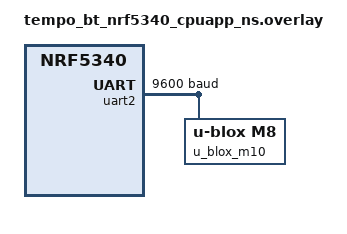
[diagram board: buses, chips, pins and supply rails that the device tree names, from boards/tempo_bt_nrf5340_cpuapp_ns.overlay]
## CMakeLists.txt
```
# Copyright (c) 2023 Trackunit Corporation
# SPDX-License-Identifier: Apache-2.0

cmake_minimum_required(VERSION 3.20.0)
find_package(Zephyr REQUIRED HINTS $ENV{ZEPHYR_BASE})
project(app_gnss_checkout)

target_sources(app PRIVATE src/main.c) 
```

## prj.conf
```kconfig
# Copyright (c) 2023 Trackunit Corporation
# SPDX-License-Identifier: Apache-2.0

CONFIG_GNSS=y
CONFIG_GNSS_SATELLITES=y

CONFIG_LOG=y
CONFIG_LOG_BUFFER_SIZE=8192
CONFIG_GNSS_DUMP_TO_LOG=y
CONFIG_GNSS_DUMP_TO_LOG_BUF_SIZE=1024
CONFIG_GNSS_LOG_LEVEL_DBG=y
CONFIG_MODEM_MODULES_LOG_LEVEL_DBG=y
```

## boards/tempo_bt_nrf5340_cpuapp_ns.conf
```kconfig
# Copyright 2024 NXP
# SPDX-License-Identifier: Apache-2.0

CONFIG_UART_INTERRUPT_DRIVEN=y 
```

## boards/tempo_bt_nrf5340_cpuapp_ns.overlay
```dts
/*
 * Copyright 2024 NXP
 *
 * SPDX-License-Identifier: Apache-2.0
 */ 

/ {
	aliases {
		gnss = &uart2;
	};
};

&uart2 {
	status = "okay";
	current-speed = <9600>;

	u_blox_m10: u-blox,m10 {
		status = "okay";
		compatible = "u-blox,m8";
		uart-baudrate = <9600>;
	};
};
```

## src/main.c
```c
/*
 * Copyright (c) 2023 Trackunit Corporation
 *
 * SPDX-License-Identifier: Apache-2.0
 */ 

#include <stdio.h>
#include <zephyr/device.h>
#include <zephyr/drivers/gnss.h>
#include <zephyr/logging/log.h>

#define GNSS_MODEM DEVICE_DT_GET(DT_ALIAS(gnss))

LOG_MODULE_REGISTER(gnss_sample, CONFIG_GNSS_LOG_LEVEL);

static void gnss_data_cb(const struct device *dev, const struct gnss_data *data)
{
	uint64_t timepulse_ns;
	k_ticks_t timepulse;

	if (data->info.fix_status != GNSS_FIX_STATUS_NO_FIX) {
		if (gnss_get_latest_timepulse(dev, &timepulse) == 0) {
			timepulse_ns = k_ticks_to_ns_near64(timepulse);
			printf("Got a fix @ %lld ns\n", timepulse_ns);
		} else {
			printf("Got a fix!\n");
		}
	}
}
GNSS_DATA_CALLBACK_DEFINE(GNSS_MODEM, gnss_data_cb);

#if CONFIG_GNSS_SATELLITES
static void gnss_satellites_cb(const struct device *dev, const struct gnss_satellite *satellites,
			       uint16_t size)
{
	unsigned int tracked_count = 0;

	for (unsigned int i = 0; i != size; ++i) {
		tracked_count += satellites[i].is_tracked;
	}
	printf("%u satellite%s reported (of which %u tracked)!\n",
		size, size > 1 ? "s" : "", tracked_count);
}
#endif
GNSS_SATELLITES_CALLBACK_DEFINE(GNSS_MODEM, gnss_satellites_cb);

#define GNSS_SYSTEMS_PRINTF(define, supported, enabled)                         \
	printf("\t%20s: Supported: %3s Enabled: %3s\n",                             \
	       STRINGIFY(define), (supported & define) ? "Yes" : "No ",             \
			 (enabled & define) ? "Yes" : "No");

#define GNSS_SYSTEMS_SUPPORTED_PRINTF(define, supported)                        \
	printf("\t%20s: Supported: %3s\n",                                          \
		STRINGIFY(define), (supported & define) ? "Yes" : "No ");

int main(void)
{
	gnss_systems_t supported, enabled;
	uint32_t fix_interval;
	int rc;

	printf("GNSS test application starting\n");

	rc = gnss_get_supported_systems(GNSS_MODEM, &supported);
	if (rc < 0) {
		printf("Failed to query supported systems (%d)\n", rc);
		return rc;
	}
	printf("returned from gnss_get_supported_systems\n");
	GNSS_SYSTEMS_SUPPORTED_PRINTF(GNSS_SYSTEM_GPS, supported);
	GNSS_SYSTEMS_SUPPORTED_PRINTF(GNSS_SYSTEM_GLONASS, supported);
	GNSS_SYSTEMS_SUPPORTED_PRINTF(GNSS_SYSTEM_GALILEO, supported);
	GNSS_SYSTEMS_SUPPORTED_PRINTF(GNSS_SYSTEM_BEIDOU, supported);
	//GNSS_SYSTEMS_PRINTF(GNSS_SYSTEM_QZSS, supported, enabled);
	//GNSS_SYSTEMS_PRINTF(GNSS_SYSTEM_IRNSS, supported, enabled);
	//GNSS_SYSTEMS_PRINTF(GNSS_SYSTEM_SBAS, supported, enabled);
	//GNSS_SYSTEMS_PRINTF(GNSS_SYSTEM_IMES, supported, enabled);
	rc = gnss_get_enabled_systems(GNSS_MODEM, &enabled);
	if (rc < 0) {
		printf("Failed to query enabled systems (%d)\n", rc);
		return rc;
	}
	printf("---\n");
	printf("GNSS Systems:\n");
	GNSS_SYSTEMS_PRINTF(GNSS_SYSTEM_GPS, supported, enabled);
	GNSS_SYSTEMS_PRINTF(GNSS_SYSTEM_GLONASS, supported, enabled);
	GNSS_SYSTEMS_PRINTF(GNSS_SYSTEM_GALILEO, supported, enabled);
	GNSS_SYSTEMS_PRINTF(GNSS_SYSTEM_BEIDOU, supported, enabled);
	GNSS_SYSTEMS_PRINTF(GNSS_SYSTEM_QZSS, supported, enabled);
	GNSS_SYSTEMS_PRINTF(GNSS_SYSTEM_IRNSS, supported, enabled);
	GNSS_SYSTEMS_PRINTF(GNSS_SYSTEM_SBAS, supported, enabled);
	GNSS_SYSTEMS_PRINTF(GNSS_SYSTEM_IMES, supported, enabled);

	rc = gnss_get_fix_rate(GNSS_MODEM, &fix_interval);
	if (rc < 0) {
		printf("Failed to query fix rate (%d)\n", rc);
		return rc;
	}
	printf("Fix rate = %d ms\n", fix_interval);

	return 0;
}
```
